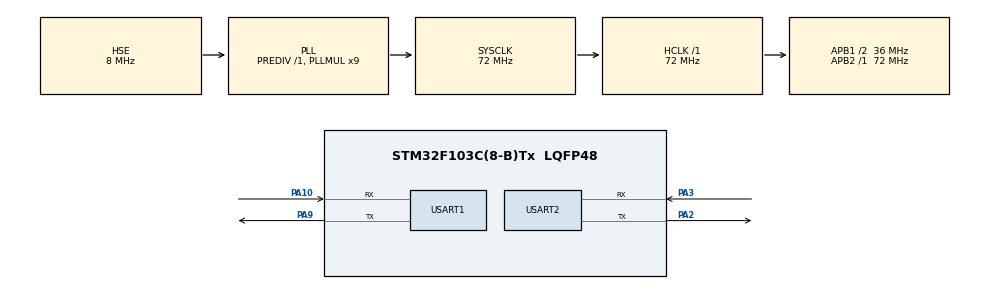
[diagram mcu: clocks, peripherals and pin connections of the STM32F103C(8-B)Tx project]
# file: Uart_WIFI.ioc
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Mcu.Family=STM32F1
Mcu.Name=STM32F103C(8-B)Tx
Mcu.Package=LQFP48
NVIC.PriorityGroup=NVIC_PRIORITYGROUP_4
PA0-WKUP.Mode=SYS_WakeUp0
PA0-WKUP.Signal=SYS_WKUP
PA10.Mode=Asynchronous
PA10.Signal=USART1_RX
PA13.Mode=Serial_Wire
PA13.Signal=SYS_JTMS-SWDIO
PA14.Mode=Serial_Wire
PA14.Signal=SYS_JTCK-SWCLK
PA2.Mode=Asynchronous
PA2.Signal=USART2_TX
PA3.Mode=Asynchronous
PA3.Signal=USART2_RX
PA9.Mode=Asynchronous
PA9.Signal=USART1_TX
PD0-OSC_IN.Mode=HSE-External-Oscillator
PD0-OSC_IN.Signal=RCC_OSC_IN
PD1-OSC_OUT.Mode=HSE-External-Oscillator
PD1-OSC_OUT.Signal=RCC_OSC_OUT
ProjectManager.HeapSize=0x200
ProjectManager.StackSize=0x400
ProjectManager.TargetToolchain=MDK-ARM V5.32
RCC.AHBFreq_Value=72000000
RCC.APB1CLKDivider=RCC_HCLK_DIV2
RCC.APB1Freq_Value=36000000
RCC.APB1TimFreq_Value=72000000
RCC.APB2Freq_Value=72000000
RCC.APB2TimFreq_Value=72000000
RCC.HCLKFreq_Value=72000000
RCC.PLLMUL=RCC_PLL_MUL9
RCC.PLLSourceVirtual=RCC_PLLSOURCE_HSE
RCC.SYSCLKFreq_VALUE=72000000
RCC.SYSCLKSource=RCC_SYSCLKSOURCE_PLLCLK
RCC.USBFreq_Value=72000000
USART1.VirtualMode=VM_ASYNC
USART2.VirtualMode=VM_ASYNC
board=custom

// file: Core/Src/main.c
/* USER CODE BEGIN Header */
/**
  ******************************************************************************
  * @file           : main.c
  * @brief          : Main program body
  ******************************************************************************
  * @attention
  *
  * Copyright (c) 2026 STMicroelectronics.
  * All rights reserved.
  *
  * This software is licensed under terms that can be found in the LICENSE file
  * in the root directory of this software component.
  * If no LICENSE file comes with this software, it is provided AS-IS.
  *
  ******************************************************************************
  */
/* USER CODE END Header */
#include "main.h"

/* USER CODE BEGIN Includes */
#include <string.h>
/* USER CODE END Includes */

UART_HandleTypeDef huart1;
UART_HandleTypeDef huart2;

void SystemClock_Config(void);
static void MX_GPIO_Init(void);
static void MX_USART1_UART_Init(void);
static void MX_USART2_UART_Init(void);

/* USER CODE BEGIN 0 */

// UART1 : PA9 (TX) , PA10 (RX) -> Wemos (ESP8266)
// UART2 : PA2 (TX) , PA3 (RX)  -> PC (PuTTY)

#define WIFI_NAME "YOUR_WIFI_SSID"
#define WIFI_PASS "YOUR_WIFI_PASSWORD"

char buf[256];

// send a string + Enter
void sendUART(UART_HandleTypeDef *huart, char inp[]) {
    HAL_UART_Transmit(huart, (uint8_t *)inp, strlen(inp), HAL_MAX_DELAY);
    HAL_UART_Transmit(huart, (uint8_t *)"\r\n", 2, HAL_MAX_DELAY);
}

// collect everything the Wemos sends for 'wait' ms
void recieveUART(char *buf, int size, uint32_t wait) {
	memset(buf, 0, size);
	HAL_UART_Receive(&huart1, (uint8_t *)buf, size - 1, wait);
}

// send AT command to Wemos and show the reply on PC
void sendAT(char cmd[], uint32_t wait) {
	sendUART(&huart2, cmd);
	__HAL_UART_CLEAR_OREFLAG(&huart1);   // clear old overrun
	sendUART(&huart1, cmd);
	recieveUART(buf, sizeof(buf), wait);
	sendUART(&huart2, buf);
}

/* USER CODE END 0 */

int main(void)
{

  /* MCU Configuration--------------------------------------------------------*/

  /* Reset of all peripherals, Initializes the Flash interface and the Systick. */
  HAL_Init();

  /* Configure the system clock */
  SystemClock_Config();

  /* Initialize all configured peripherals */
  MX_GPIO_Init();
  MX_USART1_UART_Init();
  MX_USART2_UART_Init();
  /* USER CODE BEGIN 2 */

  sendUART(&huart2, "Wifi Testing: ");

  // 1. check Wemos is alive
  sendAT("AT", 1000);

  // 2. firmware version
  sendAT("AT+GMR", 1000);

  // 3. station mode
  sendAT("AT+CWMODE=1", 1000);

  // 4. connect to Wi-Fi (takes some seconds)
  sendAT("AT+CWJAP=\"" WIFI_NAME "\",\"" WIFI_PASS "\"", 15000);

  // 5. show IP address
  sendAT("AT+CIFSR", 2000);

  sendUART(&huart2, "Type AT command and press Enter:");

  /* USER CODE END 2 */

  /* Infinite loop */
  /* USER CODE BEGIN WHILE */
  char cmd[64];
  int i = 0;
  uint8_t c;

    while (1)
    {
		// 6. type any AT command in PuTTY -> send to Wemos
		if (HAL_UART_Receive(&huart2, &c, 1, HAL_MAX_DELAY) == HAL_OK)
		{
			HAL_UART_Transmit(&huart2, &c, 1, 100);   // echo

			if (c == '\r' || c == '\n')
			{
				if (i > 0)
				{
					cmd[i] = '\0';
					sendAT(cmd, 3000);
					i = 0;
				}
			}
			else if (i < 63)
			{
				cmd[i] = c;
				i++;
			}
		}
    /* USER CODE END WHILE */
    }
}

void SystemClock_Config(void)
{
  RCC_OscInitTypeDef RCC_OscInitStruct = {0};
  RCC_ClkInitTypeDef RCC_ClkInitStruct = {0};

  /** Initializes the RCC Oscillators according to the specified parameters
  * in the RCC_OscInitTypeDef structure.
  */
  RCC_OscInitStruct.OscillatorType = RCC_OSCILLATORTYPE_HSE;
  RCC_OscInitStruct.HSEState = RCC_HSE_ON;
  RCC_OscInitStruct.HSEPredivValue = RCC_HSE_PREDIV_DIV1;
  RCC_OscInitStruct.HSIState = RCC_HSI_ON;
  RCC_OscInitStruct.PLL.PLLState = RCC_PLL_ON;
  RCC_OscInitStruct.PLL.PLLSource = RCC_PLLSOURCE_HSE;
  RCC_OscInitStruct.PLL.PLLMUL = RCC_PLL_MUL9;
  if (HAL_RCC_OscConfig(&RCC_OscInitStruct) != HAL_OK)
  {
    Error_Handler();
  }

  /** Initializes the CPU, AHB and APB buses clocks
  */
  RCC_ClkInitStruct.ClockType = RCC_CLOCKTYPE_HCLK|RCC_CLOCKTYPE_SYSCLK
                              |RCC_CLOCKTYPE_PCLK1|RCC_CLOCKTYPE_PCLK2;
  RCC_ClkInitStruct.SYSCLKSource = RCC_SYSCLKSOURCE_PLLCLK;
  RCC_ClkInitStruct.AHBCLKDivider = RCC_SYSCLK_DIV1;
  RCC_ClkInitStruct.APB1CLKDivider = RCC_HCLK_DIV2;
  RCC_ClkInitStruct.APB2CLKDivider = RCC_HCLK_DIV1;

  if (HAL_RCC_ClockConfig(&RCC_ClkInitStruct, FLASH_LATENCY_2) != HAL_OK)
  {
    Error_Handler();
  }
}

static void MX_USART1_UART_Init(void)
{

  huart1.Instance = USART1;
  huart1.Init.BaudRate = 115200;
  huart1.Init.WordLength = UART_WORDLENGTH_8B;
  huart1.Init.StopBits = UART_STOPBITS_1;
  huart1.Init.Parity = UART_PARITY_NONE;
  huart1.Init.Mode = UART_MODE_TX_RX;
  huart1.Init.HwFlowCtl = UART_HWCONTROL_NONE;
  huart1.Init.OverSampling = UART_OVERSAMPLING_16;
  if (HAL_UART_Init(&huart1) != HAL_OK)
  {
    Error_Handler();
  }

}

static void MX_USART2_UART_Init(void)
{

  huart2.Instance = USART2;
  huart2.Init.BaudRate = 115200;
  huart2.Init.WordLength = UART_WORDLENGTH_8B;
  huart2.Init.StopBits = UART_STOPBITS_1;
  huart2.Init.Parity = UART_PARITY_NONE;
  huart2.Init.Mode = UART_MODE_TX_RX;
  huart2.Init.HwFlowCtl = UART_HWCONTROL_NONE;
  huart2.Init.OverSampling = UART_OVERSAMPLING_16;
  if (HAL_UART_Init(&huart2) != HAL_OK)
  {
    Error_Handler();
  }

}

static void MX_GPIO_Init(void)
{

  /* GPIO Ports Clock Enable */
  __HAL_RCC_GPIOD_CLK_ENABLE();
  __HAL_RCC_GPIOA_CLK_ENABLE();

}

void Error_Handler(void)
{
  __disable_irq();
  while (1)
  {
  }
}
